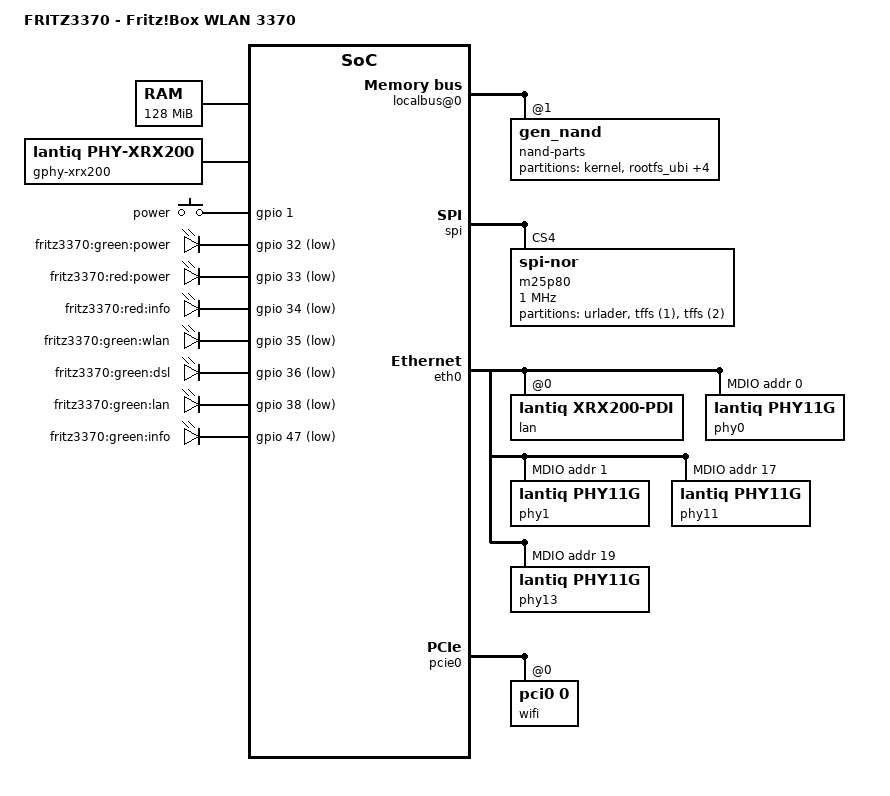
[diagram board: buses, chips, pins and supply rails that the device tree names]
/dts-v1/;

#include "vr9.dtsi"

#include <dt-bindings/input/input.h>

/ {
	model = "FRITZ3370 - Fritz!Box WLAN 3370";

	chosen {
		bootargs = "console=ttyLTQ0,115200 ubi.mtd=1,512 root=/dev/mtdblock9";
	};

	aliases {
		led-boot = &power_green;
		led-failsafe = &power_red;
		led-running = &power_green;

		led-dsl = &dsl;
		led-internet = &info_green;
		led-wifi = &wifi;
	};

	memory@0 {
		reg = <0x0 0x8000000>;
	};

	fpi@10000000 {
		localbus@0 {
			nand-parts@0 {
				compatible = "gen_nand", "lantiq,nand-xway";
				bank-width = <2>;
				reg = <1 0x0 0x2000000>;
				#address-cells = <1>;
				#size-cells = <1>;

				partitions {
					compatible = "fixed-partitions";
					#address-cells = <1>;
					#size-cells = <1>;

					partition@0 {
						label = "kernel";
						reg = <0x0 0x400000>;
					};

					partition@400000 {
						label = "rootfs_ubi";
						reg = <0x400000 0x3000000>;
					};

					partition@3400000 {
						label = "vr9_firmware";
						reg = <0x3400000 0x400000>;
					};
					partition@3800000 {
						label = "reserved";
						reg = <0x3800000 0x3000000>;
					};
					partition@6800000 {
						label = "config";
						reg = <0x6800000 0x200000>;
					};
					partition@6a00000 {
						label = "nand-filesystem";
						reg = <0x6a00000 0x1600000>;
					};
				};
			};
		};

		gpio: pinmux@E100B10 {
			pinctrl-names = "default";
			pinctrl-0 = <&state_default>;

			state_default: pinmux {
				mdio {
					lantiq,groups = "mdio";
					lantiq,function = "mdio";
				};
				nand {
					lantiq,groups = "nand cle", "nand ale",
							"nand rd", "nand cs1", "nand rdy";
					lantiq,function = "ebu";
					lantiq,pull = <1>;
				};
				phy-rst {
					lantiq,pins = "io37", "io44";
					lantiq,pull = <0>;
					lantiq,open-drain = <0>;
					lantiq,output = <1>;
				};
				pcie-rst {
					lantiq,pins = "io38";
					lantiq,pull = <0>;
					lantiq,output = <1>;
				};
			};
			pins_spi_default: pins_spi_default {
				spi_in {
					lantiq,groups = "spi_di";
					lantiq,function = "spi";
				};
				spi_out {
					lantiq,groups = "spi_do", "spi_clk",
						"spi_cs4";
					lantiq,function = "spi";
					lantiq,output = <1>;
				};
			};
		};

		ifxhcd@E101000 {
			status = "okay";
			gpios = <&gpio 5 GPIO_ACTIVE_HIGH
				&gpio 14 GPIO_ACTIVE_HIGH>;
			lantiq,portmask = <0x3>;
		};
	};

	gphy-xrx200 {
		compatible = "lantiq,phy-xrx200";
		firmware = "lantiq/vr9_phy11g_a1x.bin";
		phys = [ 00 01 ];
	};

	gpio-keys-polled {
		compatible = "gpio-keys-polled";
		#address-cells = <1>;
		#size-cells = <0>;
		poll-interval = <100>;
		power {
			label = "power";
			gpios = <&gpio 1 GPIO_ACTIVE_HIGH>;
			linux,code = <KEY_POWER>;
		};
/*		wifi {
			label = "wifi";
			gpios = <&gpio 29 GPIO_ACTIVE_HIGH>;
			linux,code = <BTN_1>;
		};*/
	};

	gpio-leds {
		compatible = "gpio-leds";

		power_green: power {
			label = "fritz3370:green:power";
			gpios = <&gpio 32 GPIO_ACTIVE_LOW>;
			default-state = "keep";
		};
		power_red: power2 {
			label = "fritz3370:red:power";
			gpios = <&gpio 33 GPIO_ACTIVE_LOW>;
		};
		info_red {
			label = "fritz3370:red:info";
			gpios = <&gpio 34 GPIO_ACTIVE_LOW>;
		};
		wifi: wifi {
			label = "fritz3370:green:wlan";
			gpios = <&gpio 35 GPIO_ACTIVE_LOW>;
		};
		dsl: dsl {
			label = "fritz3370:green:dsl";
			gpios = <&gpio 36 GPIO_ACTIVE_LOW>;
		};
		lan {
			label = "fritz3370:green:lan";
			gpios = <&gpio 38 GPIO_ACTIVE_LOW>;
		};
		info_green: info_green {
			label = "fritz3370:green:info";
			gpios = <&gpio 47 GPIO_ACTIVE_LOW>;
		};
	};
};

&spi {
	pinctrl-names = "default";
	pinctrl-0 = <&pins_spi_default>;

	status = "ok";

	m25p80@4 {
		#address-cells = <1>;
		#size-cells = <1>;
		compatible = "jedec,spi-nor";
		reg = <4 0>;
		spi-max-frequency = <1000000>;

		urlader: partition@0 {
			reg = <0x0 0x20000>;
			label = "urlader";
			read-only;
		};

		partition@20000 {
			reg = <0x20000 0x10000>;
			label = "tffs (1)";
			read-only;
		};

		partition@30000 {
			reg = <0x30000 0x10000>;
			label = "tffs (2)";
			read-only;
		};
	};
};

&eth0 {
	lan: interface@0 {
		compatible = "lantiq,xrx200-pdi";
		#address-cells = <1>;
		#size-cells = <0>;
		reg = <0>;
		mtd-mac-address = <&urlader 0x987>;
		mtd-mac-address-increment = <(-2)>;
		lantiq,switch;

		ethernet@0 {
			compatible = "lantiq,xrx200-pdi-port";
			reg = <0>;
			phy-mode = "rgmii";
			phy-handle = <&phy0>;
			gpios = <&gpio 37 GPIO_ACTIVE_HIGH>;
		};
		ethernet@1 {
			compatible = "lantiq,xrx200-pdi-port";
			reg = <1>;
			phy-mode = "rgmii";
			phy-handle = <&phy1>;
			gpios = <&gpio 44 GPIO_ACTIVE_HIGH>;
		};
		ethernet@2 {
			compatible = "lantiq,xrx200-pdi-port";
			reg = <2>;
			phy-mode = "gmii";
			phy-handle = <&phy11>;
		};
		ethernet@3 {
			compatible = "lantiq,xrx200-pdi-port";
			reg = <4>;
			phy-mode = "gmii";
			phy-handle = <&phy13>;
		};
	};

	mdio@0 {
		#address-cells = <1>;
		#size-cells = <0>;
		compatible = "lantiq,xrx200-mdio";
		phy0: ethernet-phy@0 {
			reg = <0x0>;
			compatible = "lantiq,phy11g", "ethernet-phy-ieee802.3-c22";
		};
		phy1: ethernet-phy@1 {
			reg = <0x1>;
			compatible = "lantiq,phy11g", "ethernet-phy-ieee802.3-c22";
		};
		phy11: ethernet-phy@11 {
			reg = <0x11>;
			compatible = "lantiq,phy11g", "ethernet-phy-ieee802.3-c22";
		};
		phy13: ethernet-phy@13 {
			reg = <0x13>;
			compatible = "lantiq,phy11g", "ethernet-phy-ieee802.3-c22";
		};
	};
};

&pcie0 {
	pcie@0 {
		reg = <0 0 0 0 0>;
		#interrupt-cells = <1>;
		#size-cells = <2>;
		#address-cells = <3>;
		device_type = "pci";

		wifi@0,0 {
			compatible = "pci0,0";
			reg = <0 0 0 0 0>;
			qca,no-eeprom; /* load from ath9k-eeprom-pci-0000:01:00.0.bin */
		};
	};
};
